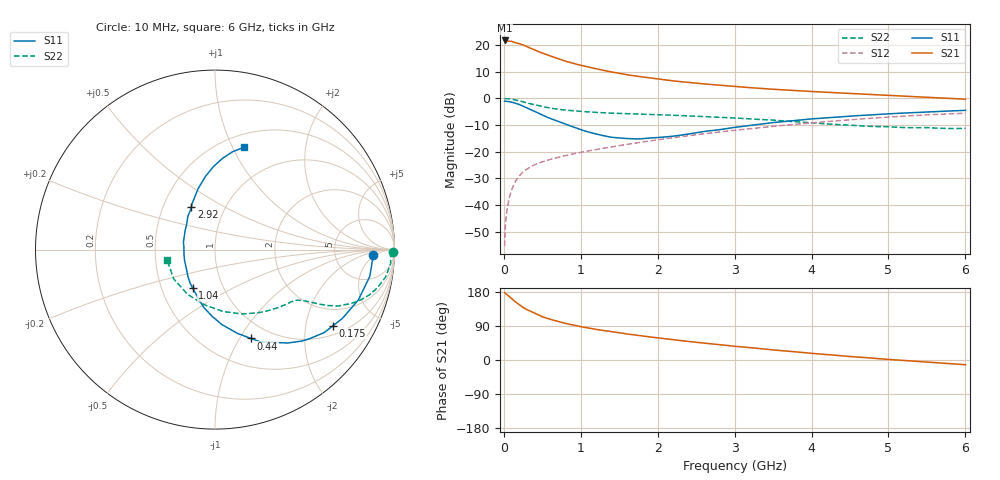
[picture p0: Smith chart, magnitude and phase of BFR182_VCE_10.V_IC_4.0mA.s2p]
! Infineon Technologies  Discrete & RF Semiconductors
! BFR182
! VCE =  10. V,  IC =  4.0 mA
! Common Emitter S-Parameters:  Nov 2015
# GHz  S  MA  R  50
!  f  S11  S21  S12  S22
! GHz  MAG  ANG  MAG  ANG  MAG  ANG  MAG  ANG
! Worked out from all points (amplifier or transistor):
!   210 points, 10 MHz to 6 GHz, reference 50 ohm
!   highest |S21| = 21.6 dB at 10 MHz (marker M1)
!   |S21| within 3 dB of that: start of sweep to 354.3 MHz
!   unconditionally stable (mu >= 1): 1.234 GHz to 3.082 GHz
!   at 185 MHz: K = 0.28, MSG = 25.1 dB, |S12| = -29.7 dB
!   at 1.52 GHz: K = 1.05, MAG = 12.1 dB, |S12| = -17.6 dB
!   at 6 GHz: K = 0.88, MSG = 2.6 dB, |S12| = -5.6 dB
!   S11 on the Smith chart (normalised r, x): 10 MHz: 15, -4; 175 MHz: 1.31, -2.87; 440 MHz: 0.81, -1.12; 1.04 GHz: 0.72, -0.32; 2.92 GHz: 0.69, +0.36; 6 GHz: 0.63, +1.11
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0.01  0.8818 -2.1  12.07 177.8  0.0017 79.9  0.9897 -0.9
0.02  0.8794 -3.7  11.82 175.9  0.0041 87.8  0.9793 -1.9
0.035  0.8761 -6.7  11.77 173.4  0.0069 84.4  0.9801 -3.3
0.1  0.8463 -19.4  11.62 162.3  0.0189 79.2  0.963 -9.1
0.15  0.8067 -28.4  10.97 153.4  0.0277 74.8  0.93 -13.2
0.175  0.7832 -32.7  10.72 149.8  0.0314 72.3  0.9119 -14.8
0.26  0.7016 -46.6  9.802 137.6  0.0427 66.9  0.8464 -19.8
0.3  0.6596 -52.1  9.228 132.8  0.0471 65.3  0.8155 -21.6
0.44  0.5342 -67.9  7.587 120.0  0.06 60.4  0.7321 -25.3
0.5  0.4846 -74.8  6.998 114.2  0.0645 59.3  0.6985 -26.5
0.6  0.4206 -84.6  6.216 107.4  0.0715 58.4  0.6548 -27.6
0.7  0.3714 -92.6  5.526 101.8  0.0774 58.1  0.6231 -28.4
0.82  0.32 -102.4  4.851 95.8  0.0855 57.6  0.5965 -29.1
1.02  0.2519 -118.6  4.078 87.3  0.0979 58.3  0.564 -30.2
1.04  0.2469 -120.4  4.016 86.6  0.0992 58.4  0.5614 -30.3
1.4  0.1856 -151.4  3.095 74.6  0.1225 59.6  0.5256 -33.0
2.02  0.1845 158.6  2.276 58.0  0.1683 59.2  0.4899 -39.6
2.92  0.2733 118.8  1.698 38.0  0.2443 55.2  0.4326 -53.8
3.1  0.2966 114.2  1.617 34.5  0.2603 53.8  0.4181 -57.6
4.1  0.4201 96.2  1.314 16.0  0.3557 45.1  0.3385 -85.8
5.1  0.5196 84.0  1.116 0.2  0.4527 33.5  0.2866 -126.0
6  0.5935 74.1  0.959 -12.5  0.5248 20.9  0.2728 -167.4
